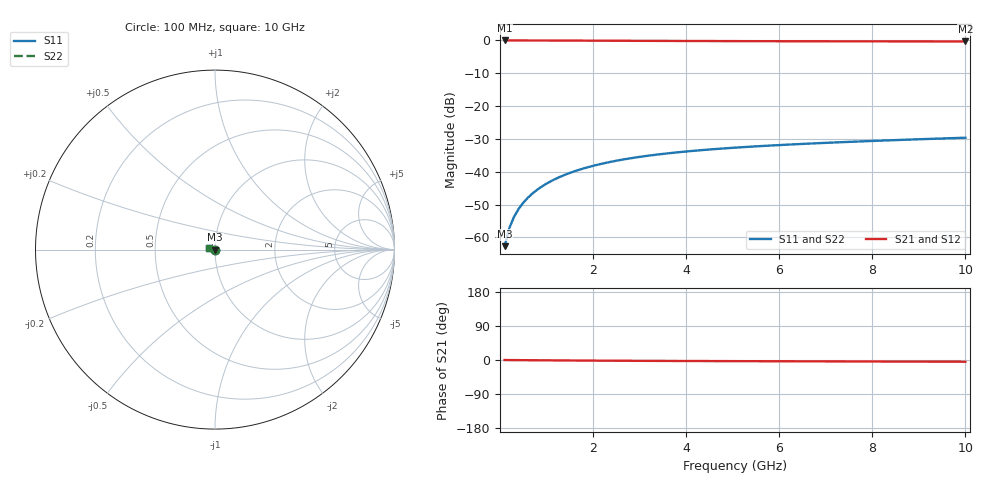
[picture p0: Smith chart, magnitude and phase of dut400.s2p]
! Touchstone file exported from HFSS 2024.1.0
!  File:  C:/UserFiles/LocalFiles/RDL_TSV_Batchsim/temp_TSV1_400_1779691486.aedt
!  Generated:  02:52:40 PM May 25, 2026
!  Design:  TSV1
!  Project:  temp_TSV1_400_1779691486
!  Setup:  Setup1
!  Solution:  Sweep
! Variables:
!  dtsv = 6.39um
!  hbump = 3um
!  htsv = 69.46um
!  lrdl = 252.1521522um
!  p = 40
!  p1 = 42.28um
!  t = 500um
!  trdl = 3um
!  wrdl = 24.89489489um
# GHz S MA R 50.000000
! Terminal data exported
! Port[1] = TSV22_T1
! Port[2] = TSV22_T2
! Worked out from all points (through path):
!   100 points, 100 MHz to 10 GHz, reference 50 ohm
!   highest |S21| = 0.00 dB at 100 MHz (marker M1); lowest = -0.3 dB at 10 GHz (marker M2)
!   lowest |S11| = -62.7 dB at 100 MHz (marker M3), VSWR 1.00, Z = 50 - j0.0671 ohm
!   |S11| at or under -10 dB: start of sweep to end of sweep
!   |S22| runs from -62.7 to -29.6 dB; largest |S21 - S12| = 5.1e-15
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0.1  0.0007351 -65.9  0.9997 -0.1  0.9997 -0.1  0.0007351 -65.9
! Gamma 0 0 0 0
! Port Impedance 50 0 50 0
0.2  0.00138 -79.9  0.9996 -0.2  0.9996 -0.2  0.00138 -79.9
0.3  0.002042 -86.2  0.9995 -0.3  0.9995 -0.3  0.002042 -86.2
0.4  0.002705 -90.3  0.9993 -0.4  0.9993 -0.4  0.002705 -90.3
0.5  0.003367 -93.5  0.9991 -0.5  0.9991 -0.5  0.003367 -93.5
0.6  0.004024 -96.2  0.9989 -0.5  0.9989 -0.5  0.004024 -96.2
0.7  0.004676 -98.6  0.9986 -0.6  0.9986 -0.6  0.004676 -98.6
0.8  0.005321 -100.9  0.9983 -0.7  0.9983 -0.7  0.005321 -100.9
0.9  0.005959 -103.0  0.9979 -0.8  0.9979 -0.8  0.005959 -103.0
1.1  0.007208 -107.1  0.9972 -1.0  0.9972 -1.0  0.007208 -107.1
1.4  0.009008 -112.7  0.9958 -1.2  0.9958 -1.2  0.009008 -112.7
1.6  0.01015 -116.3  0.9948 -1.3  0.9948 -1.3  0.01015 -116.3
1.8  0.01125 -119.7  0.9937 -1.5  0.9937 -1.5  0.01125 -119.7
2.1  0.0128 -124.5  0.9919 -1.7  0.9919 -1.7  0.0128 -124.5
2.5  0.01471 -130.6  0.9896 -1.9  0.9896 -1.9  0.01471 -130.6
2.9  0.01643 -136.3  0.9872 -2.1  0.9872 -2.1  0.01643 -136.3
3.4  0.01834 -142.9  0.9844 -2.4  0.9844 -2.4  0.01834 -142.9
4.2  0.02095 -152.2  0.9803 -2.7  0.9803 -2.7  0.02095 -152.2
5.1  0.0234 -161.4  0.9764 -3.0  0.9764 -3.0  0.0234 -161.4
6.7  0.02695 -174.9  0.9713 -3.6  0.9713 -3.6  0.02695 -174.9
8.4  0.03017 173.6  0.9675 -4.1  0.9675 -4.1  0.03017 173.6
10  0.03299 164.6  0.965 -4.6  0.965 -4.6  0.03299 164.6
